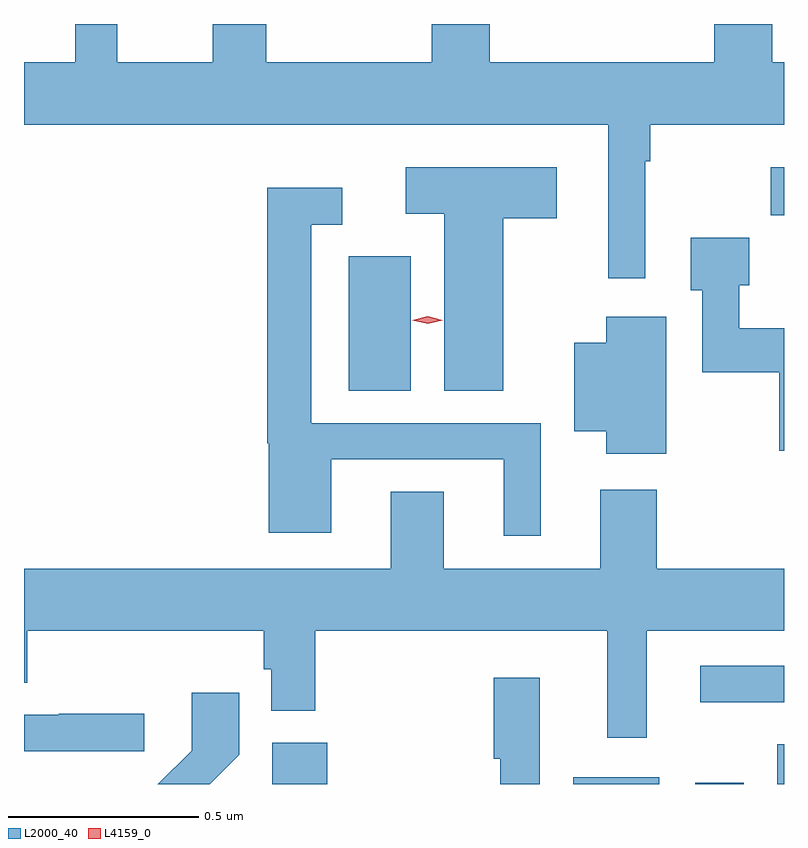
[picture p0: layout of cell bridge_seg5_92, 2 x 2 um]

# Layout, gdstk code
import gdstk
lib = gdstk.Library(unit=1e-6, precision=1e-09)
def R(c, l, rs):  # rectangles x0, y0, x1, y1
    for r in rs: c.add(gdstk.rectangle(r[:2], r[2:], *l))
def P(c, l, *ps):  # polygons
    for p in ps: c.add(gdstk.Polygon(p, *l))
L2000_40 = (2000, 40)
L4159_0 = (4159, 0)

bridge_seg5_92 = lib.new_cell('bridge_seg5_92')
R(bridge_seg5_92, L2000_40, [(186.221,909.637,186.366,909.745), (187.013,909.637,187.24,909.655), (187.334,909.637,187.462,909.64), (187.55,909.637,187.568,909.742), (187.347,909.852,187.568,909.948), (186.422,910.672,186.586,911.026), (187.533,911.134,187.568,911.26)])
P(bridge_seg5_92, L2000_40, [(187.203,911.276),(187.216,911.276),(187.216,911.372),(187.568,911.372),(187.568,911.536),(187.537,911.536),(187.537,911.637),(187.385,911.637),(187.385,911.536),(186.794,911.536),(186.794,911.637),(186.641,911.637),(186.641,911.536),(186.205,911.536),(186.205,911.637),(186.065,911.637),(186.065,911.536),(185.814,911.536),(185.814,911.637),(185.703,911.637),(185.703,911.536),(185.568,911.536),(185.568,911.372),(187.106,911.372),(187.106,910.968),(187.203,910.968)],
  [(186.829,911.126),(186.97,911.126),(186.97,911.26),(186.573,911.26),(186.573,911.138),(186.674,911.138),(186.674,910.672),(186.829,910.672)],
  [(186.928,910.587),(186.324,910.587),(186.324,911.109),(186.406,911.109),(186.406,911.206),(186.208,911.206),(186.208,910.534),(186.212,910.534),(186.212,910.298),(186.376,910.298),(186.376,910.491),(186.83,910.491),(186.83,910.29),(186.928,910.29)],
  [(187.568,910.836),(187.45,910.836),(187.45,910.949),(187.477,910.949),(187.477,911.074),(187.322,911.074),(187.322,910.937),(187.353,910.937),(187.353,910.72),(187.556,910.72),(187.556,910.514),(187.568,910.514)],
  [(187.258,910.867),(187.1,910.867),(187.1,910.798),(187.016,910.798),(187.016,910.565),(187.1,910.565),(187.1,910.506),(187.258,910.506)],
  [(187.207,910.04),(187.568,910.04),(187.568,910.204),(187.233,910.204),(187.233,910.411),(187.085,910.411),(187.085,910.204),(186.673,910.204),(186.673,910.406),(186.533,910.406),(186.533,910.204),(185.568,910.204),(185.568,909.904),(185.576,909.904),(185.576,910.04),(186.199,910.04),(186.199,909.939),(186.219,909.939),(186.219,909.83),(186.335,909.83),(186.335,910.04),(187.103,910.04),(187.103,909.759),(187.207,909.759)],
  [(186.925,909.916),(186.804,909.916),(186.804,909.703),(186.821,909.703),(186.821,909.637),(186.925,909.637)],
  [(186.134,909.714),(186.134,909.877),(186.009,909.877),(186.009,909.725),(185.92,909.637),(186.057,909.637)],
  [(185.884,909.822),(185.659,909.822),(185.659,909.819),(185.568,909.819),(185.568,909.723),(185.884,909.723)])
P(bridge_seg5_92, L4159_0, [(186.63,910.848),(186.59,910.858),(186.589,910.858),(186.59,910.858),(186.63,910.868),(186.67,910.858),(186.67,910.858),(186.67,910.858)])

lib.write_gds('bridge_seg5_92.gds')
